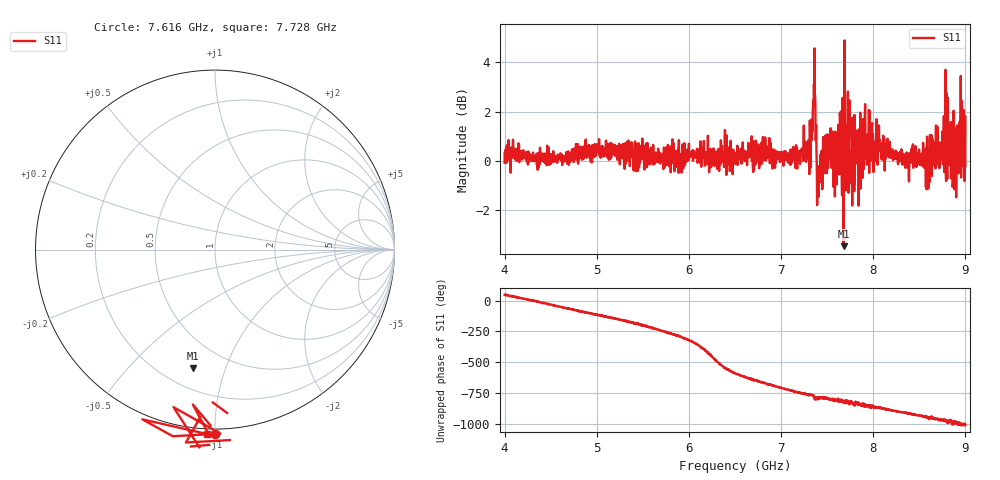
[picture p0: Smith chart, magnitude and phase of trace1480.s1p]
! Created with skrf 1.8.0 (http://scikit-rf.org).
# Hz S RI R 50.0
!freq ReS11 ImS11
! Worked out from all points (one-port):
!   1601 points, 4 GHz to 9 GHz, reference 50 ohm
!   lowest |S11| = -3.5 dB at 7.678 GHz (marker M1), VSWR 5.10, Z = 16.1 - j38.8 ohm
!   |S11| at or under -10 dB: nowhere
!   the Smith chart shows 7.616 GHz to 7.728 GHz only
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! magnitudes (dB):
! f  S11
! 4 GHz  -0.1
! 4.625 GHz  -0.2
! 5.25 GHz  -0.1
! 5.875 GHz  0.0
! 6.5 GHz  0.2
! 6.806 GHz  0.0
! 7.125 GHz  0.4
! 7.294 GHz  0.3
! 7.319 GHz  -0.3
! 7.347 GHz  2.3
! 7.362 GHz  4.6
! 7.397 GHz  -1.3
! 7.409 GHz  -1.4
! 7.481 GHz  -0.2
! 7.591 GHz  0.8
! 7.65 GHz  2.0
! 7.678 GHz  -3.5
! 7.75 GHz  0.1
! 7.769 GHz  -0.7
! 7.891 GHz  0.7
! 8.375 GHz  -0.2
! 8.522 GHz  0.1
! 8.584 GHz  1.0
! 8.638 GHz  -0.1
! 8.809 GHz  2.6
! 8.875 GHz  0.8
! 8.956 GHz  0.6
! 9 GHz  -0.2
